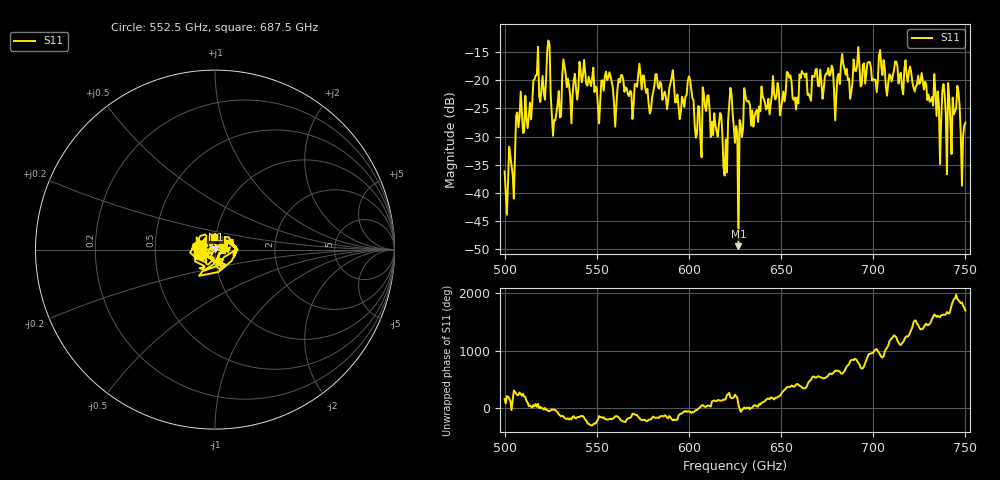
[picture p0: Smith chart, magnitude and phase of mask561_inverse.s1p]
!Created with skrf (http://scikit-rf.org).
# GHz S MA R 50.0
!freq magS11 angS11
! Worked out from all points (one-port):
!   401 points, 500 GHz to 750 GHz, reference 50 ohm
!   lowest |S11| = -49.5 dB at 626.9 GHz (marker M1), VSWR 1.01, Z = 50.2 + j0.253 ohm
!   |S11| at or under -10 dB: start of sweep to end of sweep
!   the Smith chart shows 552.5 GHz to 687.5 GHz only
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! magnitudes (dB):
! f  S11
! 500 GHz  -36.2
! 516.9 GHz  -19.2
! 520.6 GHz  -19.2
! 523.8 GHz  -12.9
! 526.9 GHz  -27.1
! 531.2 GHz  -19.3
! 541.9 GHz  -20.4
! 550.6 GHz  -24.7
! 556.2 GHz  -19.6
! 560 GHz  -28.2
! 562.5 GHz  -20.4
! 579.4 GHz  -25.3
! 590.6 GHz  -19.6
! 593.8 GHz  -22.5
! 600.6 GHz  -19.9
! 605.6 GHz  -24.7
! 608.8 GHz  -24.7
! 619.4 GHz  -36.9
! 622.5 GHz  -21.4
! 625 GHz  -31.1
! 626.9 GHz  -49.5
! 631.2 GHz  -23.7
! 635 GHz  -28.2
! 656.2 GHz  -23.2
! 687.5 GHz  -23.3
! 690.6 GHz  -18.4
! 718.8 GHz  -20.3
! 750 GHz  -27.6
